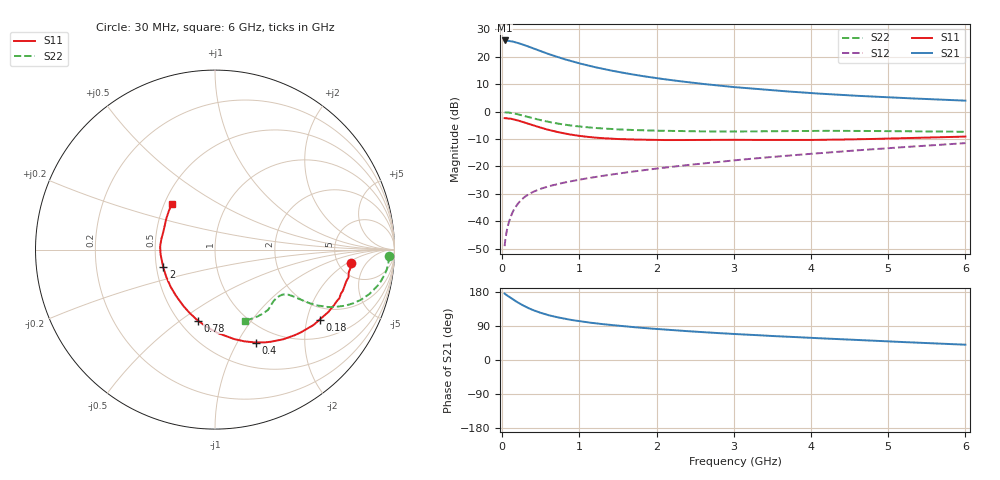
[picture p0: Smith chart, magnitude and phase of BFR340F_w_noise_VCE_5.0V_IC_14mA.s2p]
! Infineon Technologies  Discrete & RF Semiconductors
! BFR340F
! VCE =  5.0 V,  IC =  14 mA
! Common Emitter S-Parameters:  Nov 2015
# GHz  S  MA  R  50
!  f  S11  S21  S12  S22
! GHz  MAG  ANG  MAG  ANG  MAG  ANG  MAG  ANG
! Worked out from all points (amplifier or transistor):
!   206 points, 30 MHz to 6 GHz, reference 50 ohm
!   highest |S21| = 26.0 dB at 30 MHz (marker M1)
!   |S21| within 3 dB of that: start of sweep to 410.7 MHz
!   unconditionally stable (mu >= 1): 1.783 GHz to 4.749 GHz
!   at 200 MHz: K = 0.24, MSG = 29.4 dB, |S12| = -33.7 dB
!   at 1.56 GHz: K = 0.96, MSG = 18.3 dB, |S12| = -22.4 dB
!   at 6 GHz: K = 0.94, MSG = 7.8 dB, |S12| = -11.5 dB
!   lowest NFmin = 1.79 dB at 450 MHz
!   S11 on the Smith chart (normalised r, x): 30 MHz: 6.49, -2.37; 180 MHz: 1.56, -2.39; 400 MHz: 0.79, -1.20; 780 MHz: 0.62, -0.59; 2 GHz: 0.54, -0.12; 6 GHz: 0.55, +0.32
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0.03  0.7612 -5.8  19.95 175.3  0.0035 84.6  0.971 -2.2
0.05  0.7557 -9.6  19.73 171.9  0.0058 82.8  0.9693 -4.0
0.09  0.7484 -17.8  19.54 166.7  0.01 80.9  0.9588 -7.6
0.15  0.7214 -28.7  18.78 158.3  0.0162 76.2  0.9284 -12.5
0.18  0.7014 -33.8  18.3 154.5  0.0189 74.0  0.9088 -14.5
0.24  0.6646 -43.9  17.29 147.2  0.024 70.2  0.868 -18.3
0.3  0.6267 -53.0  16.16 140.7  0.0284 67.1  0.8249 -21.3
0.4  0.5654 -66.3  14.31 131.6  0.0343 63.6  0.7566 -24.8
0.5  0.5098 -77.9  12.67 124.3  0.0392 61.3  0.6981 -27.2
0.6  0.4653 -88.1  11.28 118.2  0.0433 60.1  0.6504 -28.6
0.7  0.43 -97.1  10.11 113.3  0.0471 59.7  0.6117 -29.4
0.78  0.4069 -103.3  9.315 110.0  0.0499 59.6  0.587 -29.8
0.9  0.379 -112.2  8.306 105.5  0.0539 59.9  0.5557 -30.2
1.04  0.3551 -121.2  7.37 101.2  0.0586 60.6  0.5286 -30.6
1.2  0.3364 -130.4  6.501 96.9  0.0639 61.5  0.5043 -30.9
1.48  0.3175 -143.5  5.391 90.8  0.0732 63.2  0.4764 -31.7
2  0.3044 -161.3  4.088 81.8  0.0914 65.8  0.4496 -34.1
2.02  0.3041 -161.9  4.053 81.5  0.0921 65.9  0.449 -34.2
3.1  0.3053 174.9  2.737 67.7  0.1329 68.8  0.4353 -42.1
4.1  0.3054 159.6  2.138 57.5  0.1744 69.4  0.4467 -49.2
5.1  0.3247 145.6  1.8 48.2  0.2201 68.6  0.4404 -58.2
6  0.351 133.3  1.59 40.4  0.2663 67.0  0.4287 -67.3
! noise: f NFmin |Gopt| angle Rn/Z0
0.45  1.79  0.09  -8  0.25
0.9  2.09  0.07  -2  0.32
1.9  3.08  0.16  -130  0.4
2.4  3.64  0.25  -138  0.37
